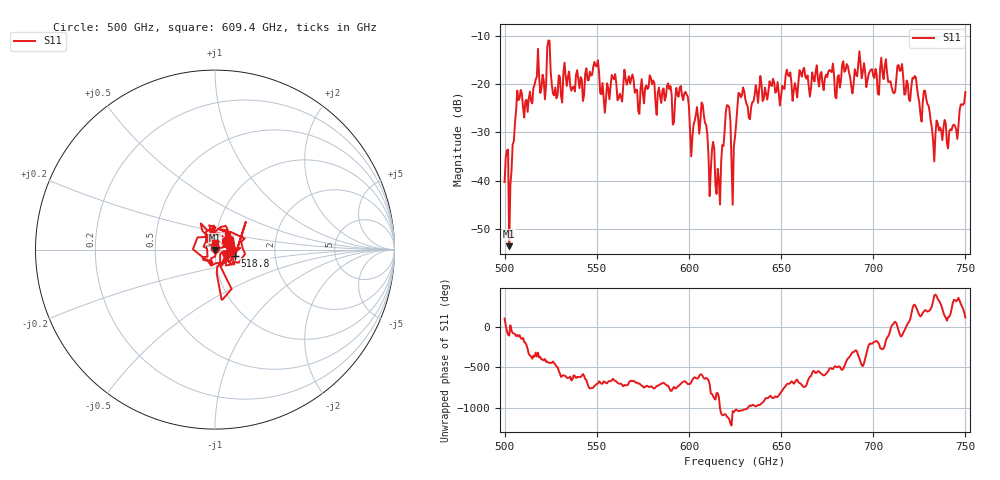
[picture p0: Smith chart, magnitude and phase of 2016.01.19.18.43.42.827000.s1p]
!Created with skrf (http://scikit-rf.org).
# GHz S RI R 50.0
!freq ReS11 ImS11
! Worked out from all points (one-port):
!   401 points, 500 GHz to 750 GHz, reference 50 ohm
!   lowest |S11| = -53.5 dB at 502.5 GHz (marker M1), VSWR 1.00, Z = 49.9 - j0.201 ohm
!   |S11| at or under -10 dB: start of sweep to end of sweep
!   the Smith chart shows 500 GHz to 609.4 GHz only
!   S11 on the Smith chart (normalised r, x): 500 GHz: 1.00, +0.02; 518.8 GHz: 1.25, -0.09; 609.4 GHz: 1.00, +0.07
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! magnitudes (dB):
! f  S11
! 500 GHz  -40.2
! 502.5 GHz  -53.5
! 507.5 GHz  -23.3
! 518.8 GHz  -18.7
! 524.4 GHz  -11.1
! 526.9 GHz  -22.4
! 531.2 GHz  -23.8
! 549.4 GHz  -16.2
! 553.1 GHz  -19.8
! 562.5 GHz  -22.0
! 593.8 GHz  -22.2
! 598.8 GHz  -22.2
! 601.9 GHz  -31.0
! 609.4 GHz  -28.5
! 615.6 GHz  -37.5
! 620.6 GHz  -24.4
! 625 GHz  -31.0
! 628.1 GHz  -22.8
! 656.2 GHz  -23.5
! 687.5 GHz  -18.6
! 705.6 GHz  -19.0
! 710.6 GHz  -21.6
! 714.4 GHz  -17.3
! 718.8 GHz  -19.9
! 728.8 GHz  -23.0
! 732.5 GHz  -31.8
! 745 GHz  -29.4
! 750 GHz  -21.6
